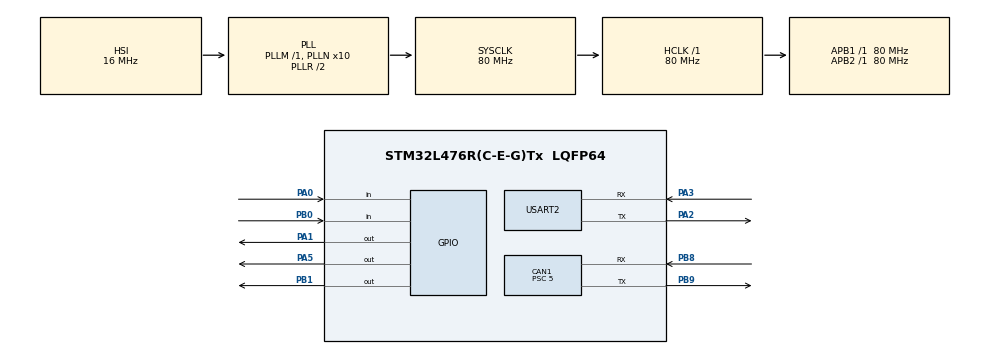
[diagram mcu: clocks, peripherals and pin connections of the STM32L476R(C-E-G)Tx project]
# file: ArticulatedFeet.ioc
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CAN1.ABOM=ENABLE
CAN1.BS1=CAN_BS1_13TQ
CAN1.BS2=CAN_BS2_2TQ
CAN1.CalculateBaudRate=1000000
CAN1.CalculateTimeBit=1000
CAN1.CalculateTimeQuantum=62.5
CAN1.NART=ENABLE
CAN1.Prescaler=5
Mcu.Family=STM32L4
Mcu.Name=STM32L476R(C-E-G)Tx
Mcu.Package=LQFP64
NVIC.CAN1_RX0_IRQn=true\:0\:0\:false\:false\:true\:true\:true\:true
NVIC.PriorityGroup=NVIC_PRIORITYGROUP_4
NVIC.TIM6_DAC_IRQn=true\:0\:0\:false\:false\:true\:true\:true\:true
PA0.Signal=GPIO_Input
PA1.Signal=GPIO_Output
PA2.Mode=Asynchronous
PA2.Signal=USART2_TX
PA3.Mode=Asynchronous
PA3.Signal=USART2_RX
PA5.Signal=GPIO_Output
PB0.Signal=GPIO_Input
PB1.Signal=GPIO_Output
PB8.Mode=CAN_Activate
PB8.Signal=CAN1_RX
PB9.Mode=CAN_Activate
PB9.Signal=CAN1_TX
ProjectManager.HeapSize=0x200
ProjectManager.StackSize=0x400
ProjectManager.TargetToolchain=STM32CubeIDE
RCC.ADCFreq_Value=64000000
RCC.AHBFreq_Value=80000000
RCC.APB1Freq_Value=80000000
RCC.APB1TimFreq_Value=80000000
RCC.APB2Freq_Value=80000000
RCC.APB2TimFreq_Value=80000000
RCC.CortexFreq_Value=80000000
RCC.HCLKFreq_Value=80000000
RCC.HSE_VALUE=8000000
RCC.HSI_VALUE=16000000
RCC.LSE_VALUE=32768
RCC.MSI_VALUE=4000000
RCC.PLLN=10
RCC.PLLSourceVirtual=RCC_PLLSOURCE_HSI
RCC.SYSCLKFreq_VALUE=80000000
RCC.SYSCLKSource=RCC_SYSCLKSOURCE_PLLCLK
RCC.USBFreq_Value=64000000
RCC.VCOOutputFreq_Value=160000000
TIM2.Prescaler=79
TIM6.Period=2999
TIM6.Prescaler=79
USART2.VirtualMode-Asynchronous=VM_ASYNC
VP_TIM2_VS_ClockSourceINT.Mode=Internal
VP_TIM6_VS_ClockSourceINT.Mode=Enable_Timer
board=custom

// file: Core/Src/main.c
/* USER CODE BEGIN Header */
/**
  ******************************************************************************
  * @file           : main.c
  * @brief          : Main program body
  ******************************************************************************
  * @attention
  *
  * Copyright (c) 2026 STMicroelectronics.
  * All rights reserved.
  *
  * This software is licensed under terms that can be found in the LICENSE file
  * in the root directory of this software component.
  * If no LICENSE file comes with this software, it is provided AS-IS.
  *
  ******************************************************************************
  */
/* USER CODE END Header */
#include "main.h"

/* USER CODE BEGIN Includes */

#include "hx711.h"
#include "cubemars.h"
#include <stdio.h>
#include <string.h>
#include <math.h>
/* USER CODE END Includes */

CAN_HandleTypeDef hcan1;

TIM_HandleTypeDef htim2;
TIM_HandleTypeDef htim6;

UART_HandleTypeDef huart2;

/* USER CODE BEGIN PV */
/* Hardcoded calibration: the existing HX711 driver is unchanged. */
HX711_t loadcell1 = {
    .dout_port=GPIOA, .dout_pin=GPIO_PIN_0,
    .sck_port=GPIOA,  .sck_pin=GPIO_PIN_1,
    .offset=13229, .scale=25848.474609f
};
HX711_t loadcell2 = {
    .dout_port=GPIOB, .dout_pin=GPIO_PIN_0,
    .sck_port=GPIOB,  .sck_pin=GPIO_PIN_1,
    .offset=585800, .scale=97598.601562f
};

/* CubeMonitor: live axial and horizontal force in lb (read-only). */
volatile float weight1_lb = 0.0f;
volatile float weight2_lb = 0.0f;
volatile uint32_t axial_timestamp_ms = 0U;
volatile uint32_t horizontal_timestamp_ms = 0U;
volatile uint8_t axial_valid = 0U;
volatile uint8_t horizontal_valid = 0U;
volatile uint32_t control_cycle_count = 0U;

/* Motor configuration. The public motor position/setpoint globals are in
 * cubemars.c and declared extern in cubemars.h for use by other files. */
/* Kp and Kd are writable globals defined in cubemars.c. */
#define MOTOR_COMMAND_PERIOD_MS   20U     /* 50 Hz CAN commands */
#define MOTOR_START_GRACE_MS      700U
#define MOTOR_FEEDBACK_MAX_AGE_MS 400U
#define MOTOR_POSITION_STEP_RAD   0.1f   /* each + or - keypress */
#define MOTOR_POSITION_MIN_RAD   (-12.5f) /* MIT protocol range */
#define MOTOR_POSITION_MAX_RAD    12.5f

/* CubeMonitor can READ this status; use motor_command to control it. */
volatile uint8_t motor_active = 0U;
/* Write 'e' or 'd' (ASCII 101 or 100) then firmware clears to 0. */
volatile uint8_t motor_command = 0U;
static uint8_t motor_target_ready = 0U;
static uint8_t motor_stop_pending = 0U;
static uint8_t motor_fault_lockout = 0U;
static uint32_t motor_start_ms = 0U;
static uint32_t motor_last_command_ms = 0U;
static uint32_t motor_rx_count_on_enable = 0U;

static char uart_buffer[180];
/* USER CODE END PV */

void SystemClock_Config(void);
static void MX_GPIO_Init(void);
static void MX_TIM2_Init(void);
static void MX_USART2_UART_Init(void);
static void MX_CAN1_Init(void);
static void MX_TIM6_Init(void);

/* USER CODE BEGIN 0 */
static void Serial_Print(const char *text)
{
    /* UART is only used in the foreground, never inside either ISR. */
    HAL_UART_Transmit(&huart2, (uint8_t *)text, (uint16_t)strlen(text), 100U);
}

/* Stop sending active control commands first; request motor disable in loop. */
static void Motor_RequestStop(uint8_t fault)
{
    motor_active = 0U;
    motor_target_ready = 0U;
    motor_stop_pending = 1U;
    if (fault) motor_fault_lockout = 1U;
}

/* Each character is a complete command: no Enter and no line parser. */
static void Process_MotorCommand(uint8_t ch)
{
    if (ch == 'e')
    {
    	if (motor_active)
    	{
    	    Serial_Print("Motor is already enabled.\r\n");
    	    return;
    	}

    	if (motor_stop_pending)
    	{
    	    Serial_Print("Motor is currently stopping.\r\n");
    	    return;
    	}

    	if (motor_fault_lockout)
    	{
    	    Serial_Print("Motor is locked out due to a fault.\r\n");
    	    return;
    	}

        motor_rx_count_on_enable = motor_rx_count;
        if (!CubeMars_Enable(&hcan1))
        {
            Serial_Print("MIT enable could not be queued.\r\n");
            return;
        }
        motor_active = 1U;
        motor_target_ready = 0U;
        motor_start_ms = HAL_GetTick();  /* feedback startup grace only */
        motor_last_command_ms = motor_start_ms;
        Serial_Print("MIT enable queued; waiting for fresh position.\r\n");
    }
    else if (ch == 'd')
    {
        Motor_RequestStop(0U);
        Serial_Print("Motor disable requested.\r\n");
    }
    else if (ch == '+' || ch == '-')
    {
        if (!motor_active || !motor_target_ready || motor_stop_pending)
        {
            Serial_Print("Motor not ready; press e and wait for feedback.\r\n");
            return;
        }
        if (!motor_position_valid ||
            (uint32_t)(HAL_GetTick() - motor_last_rx_ms) > MOTOR_FEEDBACK_MAX_AGE_MS)
        {
            Serial_Print("Position change rejected: feedback stale.\r\n");
            return;
        }

        float next = motor_target_rad +
            ((ch == '+') ? MOTOR_POSITION_STEP_RAD : -MOTOR_POSITION_STEP_RAD);

        /* Encoding supports only [-12.5, 12.5] rad. This is NOT a
         * relative-displacement or mechanical-travel limit. */
        if (!isfinite(next) || next < MOTOR_POSITION_MIN_RAD || next > MOTOR_POSITION_MAX_RAD)
        {
            Serial_Print("Position exceeds MIT encoding range (+/-12.5 rad).\r\n");
            return;
        }
        motor_target_rad = next;
        snprintf(uart_buffer, sizeof(uart_buffer),
                 "Target updated: %.3f rad\r\n", (double)motor_target_rad);
        Serial_Print(uart_buffer);
    }
}
/* USER CODE END 0 */

int main(void)
{

  /* MCU Configuration--------------------------------------------------------*/

  /* Reset of all peripherals, Initializes the Flash interface and the Systick. */
  HAL_Init();

  /* Configure the system clock */
  SystemClock_Config();

  /* Initialize all configured peripherals */
  MX_GPIO_Init();
  MX_TIM2_Init();
  MX_USART2_UART_Init();
  MX_CAN1_Init();
  MX_TIM6_Init();
  /* USER CODE BEGIN 2 */
if (HAL_TIM_Base_Start(&htim2) != HAL_OK) Error_Handler();

  /* Receive all standard CAN frames, decode only MIT feedback for motor 9. */
  CAN_FilterTypeDef can_filter = {0};
  can_filter.FilterBank = 0;
  can_filter.FilterMode = CAN_FILTERMODE_IDMASK;
  can_filter.FilterScale = CAN_FILTERSCALE_32BIT;
  can_filter.FilterFIFOAssignment = CAN_RX_FIFO0;
  can_filter.FilterActivation = CAN_FILTER_ENABLE;
  can_filter.SlaveStartFilterBank = 14;
  if (HAL_CAN_ConfigFilter(&hcan1, &can_filter) != HAL_OK) Error_Handler();
  if (HAL_CAN_Start(&hcan1) != HAL_OK) Error_Handler();
  if (HAL_CAN_ActivateNotification(&hcan1, CAN_IT_RX_FIFO0_MSG_PENDING) != HAL_OK)
      Error_Handler();
  if (HAL_TIM_Base_Start_IT(&htim6) != HAL_OK) Error_Handler();

  Serial_Print("\r\nDual HX711 + CubeMars ID 9 (MIT position control)\r\n");
  Serial_Print("Globals: motor_position_rad / motor_target_rad, in radians.\r\n");
  Serial_Print("Kp=1.0, Kd=0.2; CAN=1 Mbps, command=50 Hz, TIM6=3 ms.\r\n");
  Serial_Print("Commands: e=enable/hold, +=target +0.1 rad, -=target -0.1 rad, d=disable.\r\n");
  Serial_Print("No trial timeout and no relative displacement limit. MIT range +/-12.5 rad.\r\n");
  Serial_Print("Motor NOT enabled automatically. Have a PHYSICAL power cutoff.\r\n");
/* USER CODE END 2 */

  /* Infinite loop */
  /* USER CODE BEGIN WHILE */
uint32_t last_print_ms = HAL_GetTick();
  while (1)
  {
       uint32_t now = HAL_GetTick();

       /* Single-slot command mailbox for CubeMonitor: write ASCII 'e' or 'd'.
        * Clear before processing so the same command does not repeat.
        * If updated faster than the main loop executes, intermediate writes
        * can be overwritten; this is intended for manual commands only. */
       uint8_t pending_command = motor_command;
       if (pending_command != 0U)
       {
           motor_command = 0U;
           if (pending_command == 'e' || pending_command == 'd')
               Process_MotorCommand(pending_command);
       }

       if (motor_active)
      {
          /* Acquire initial target from a NEW response after enable. */
          if (!motor_target_ready && motor_rx_count != motor_rx_count_on_enable &&
              motor_position_valid && (uint32_t)(now - motor_last_rx_ms) <= MOTOR_FEEDBACK_MAX_AGE_MS)
          {
              motor_target_rad = motor_position_rad;
              motor_target_ready = 1U;
              Serial_Print("Position received; holding initial position.\r\n");
          }

           if ((hcan1.Instance->ESR & CAN_ESR_BOFF) != 0U ||
                   ((uint32_t)(now - motor_start_ms) >= MOTOR_START_GRACE_MS &&
                    (!motor_target_ready ||
                     (uint32_t)(now - motor_last_rx_ms) > MOTOR_FEEDBACK_MAX_AGE_MS)))
          {
              Motor_RequestStop(1U);
              Serial_Print("FAULT: CAN bus-off or missing feedback. Requesting disable.\r\n");
          }
           else if (motor_target_ready &&
                    (!isfinite(motor_target_rad) ||
                     motor_target_rad < MOTOR_POSITION_MIN_RAD ||
                     motor_target_rad > MOTOR_POSITION_MAX_RAD ||
                     !isfinite(motor_kp) || motor_kp < 0.0f || motor_kp > 500.0f ||
                     !isfinite(motor_kd) || motor_kd < 0.0f || motor_kd > 5.0f))
          {
               Motor_RequestStop(1U);
               Serial_Print("FAULT: invalid target or gains; requesting disable.\r\n");
          }
          else if ((uint32_t)(now - motor_last_command_ms) >= MOTOR_COMMAND_PERIOD_MS)
          {
               motor_last_command_ms = now;
               uint8_t ok = motor_target_ready ?
                   CubeMars_SendPosition(&hcan1, motor_target_rad, motor_kp, motor_kd) :
                   CubeMars_SendPassive(&hcan1);
              if (!ok)
              {
                  Motor_RequestStop(1U);
                  Serial_Print("FAULT: CAN transmission not queued. Requesting disable.\r\n");
              }
          }
      }

      /* Never block in a motor-disable retry: CAN may be disconnected. */
      if (motor_stop_pending && HAL_CAN_GetTxMailboxesFreeLevel(&hcan1) > 0U)
      {
          if (CubeMars_Disable(&hcan1))
          {
              motor_stop_pending = 0U;
              Serial_Print("Motor disable queued (delivery not guaranteed).\r\n");
          }
      }

      /* Show current force and measured/commanded position twice per second. */
      if ((uint32_t)(now - last_print_ms) >= 500U)
      {
          last_print_ms = now;
          const char *a = !axial_valid ? "NO DATA" :
              (now - axial_timestamp_ms > 250U ? "STALE" : "OK");
          const char *h = !horizontal_valid ? "NO DATA" :
              (now - horizontal_timestamp_ms > 250U ? "STALE" : "OK");
          const char *m = !motor_position_valid ? "NO DATA" :
              (now - motor_last_rx_ms > MOTOR_FEEDBACK_MAX_AGE_MS ? "STALE" : "OK");
          snprintf(uart_buffer, sizeof(uart_buffer),
                   "Axial %.3f lb [%s] | Horizontal %.3f lb [%s] | "
                   "Motor %.3f rad [%s] | Target %.3f rad\r\n",
                   (double)weight1_lb, a, (double)weight2_lb, h,
                   (double)motor_position_rad, m, (double)motor_target_rad);
          Serial_Print(uart_buffer);
      }

      /* 1 ms receive timeout; each keypress is handled immediately. */
      uint8_t ch;
      if (HAL_UART_Receive(&huart2, &ch, 1U, 1U) == HAL_OK)
    	  Process_MotorCommand(ch);
  /* USER CODE END WHILE */

  }
}

void SystemClock_Config(void)
{
  RCC_OscInitTypeDef RCC_OscInitStruct = {0};
  RCC_ClkInitTypeDef RCC_ClkInitStruct = {0};

  /** Configure the main internal regulator output voltage
  */
  if (HAL_PWREx_ControlVoltageScaling(PWR_REGULATOR_VOLTAGE_SCALE1) != HAL_OK)
  {
    Error_Handler();
  }

  /** Initializes the RCC Oscillators according to the specified parameters
  * in the RCC_OscInitTypeDef structure.
  */
  RCC_OscInitStruct.OscillatorType = RCC_OSCILLATORTYPE_HSI;
  RCC_OscInitStruct.HSIState = RCC_HSI_ON;
  RCC_OscInitStruct.HSICalibrationValue = RCC_HSICALIBRATION_DEFAULT;
  RCC_OscInitStruct.PLL.PLLState = RCC_PLL_ON;
  RCC_OscInitStruct.PLL.PLLSource = RCC_PLLSOURCE_HSI;
  RCC_OscInitStruct.PLL.PLLM = 1;
  RCC_OscInitStruct.PLL.PLLN = 10;
  RCC_OscInitStruct.PLL.PLLP = RCC_PLLP_DIV7;
  RCC_OscInitStruct.PLL.PLLQ = RCC_PLLQ_DIV2;
  RCC_OscInitStruct.PLL.PLLR = RCC_PLLR_DIV2;
  if (HAL_RCC_OscConfig(&RCC_OscInitStruct) != HAL_OK)
  {
    Error_Handler();
  }

  /** Initializes the CPU, AHB and APB buses clocks
  */
  RCC_ClkInitStruct.ClockType = RCC_CLOCKTYPE_HCLK|RCC_CLOCKTYPE_SYSCLK
                              |RCC_CLOCKTYPE_PCLK1|RCC_CLOCKTYPE_PCLK2;
  RCC_ClkInitStruct.SYSCLKSource = RCC_SYSCLKSOURCE_PLLCLK;
  RCC_ClkInitStruct.AHBCLKDivider = RCC_SYSCLK_DIV1;
  RCC_ClkInitStruct.APB1CLKDivider = RCC_HCLK_DIV1;
  RCC_ClkInitStruct.APB2CLKDivider = RCC_HCLK_DIV1;

  if (HAL_RCC_ClockConfig(&RCC_ClkInitStruct, FLASH_LATENCY_4) != HAL_OK)
  {
    Error_Handler();
  }
}

static void MX_CAN1_Init(void)
{

  hcan1.Instance = CAN1;
  hcan1.Init.Prescaler = 5;
  hcan1.Init.Mode = CAN_MODE_NORMAL;
  hcan1.Init.SyncJumpWidth = CAN_SJW_1TQ;
  hcan1.Init.TimeSeg1 = CAN_BS1_13TQ;
  hcan1.Init.TimeSeg2 = CAN_BS2_2TQ;
  hcan1.Init.TimeTriggeredMode = DISABLE;
  hcan1.Init.AutoBusOff = ENABLE;
  hcan1.Init.AutoWakeUp = DISABLE;
  hcan1.Init.AutoRetransmission = ENABLE;
  hcan1.Init.ReceiveFifoLocked = DISABLE;
  hcan1.Init.TransmitFifoPriority = DISABLE;
  if (HAL_CAN_Init(&hcan1) != HAL_OK)
  {
    Error_Handler();
  }

}

static void MX_TIM2_Init(void)
{

  TIM_ClockConfigTypeDef sClockSourceConfig = {0};
  TIM_MasterConfigTypeDef sMasterConfig = {0};

  htim2.Instance = TIM2;
  htim2.Init.Prescaler = 79;
  htim2.Init.CounterMode = TIM_COUNTERMODE_UP;
  htim2.Init.Period = 4294967295;
  htim2.Init.ClockDivision = TIM_CLOCKDIVISION_DIV1;
  htim2.Init.AutoReloadPreload = TIM_AUTORELOAD_PRELOAD_DISABLE;
  if (HAL_TIM_Base_Init(&htim2) != HAL_OK)
  {
    Error_Handler();
  }
  sClockSourceConfig.ClockSource = TIM_CLOCKSOURCE_INTERNAL;
  if (HAL_TIM_ConfigClockSource(&htim2, &sClockSourceConfig) != HAL_OK)
  {
    Error_Handler();
  }
  sMasterConfig.MasterOutputTrigger = TIM_TRGO_RESET;
  sMasterConfig.MasterSlaveMode = TIM_MASTERSLAVEMODE_DISABLE;
  if (HAL_TIMEx_MasterConfigSynchronization(&htim2, &sMasterConfig) != HAL_OK)
  {
    Error_Handler();
  }

}

static void MX_TIM6_Init(void)
{

  TIM_MasterConfigTypeDef sMasterConfig = {0};

  htim6.Instance = TIM6;
  htim6.Init.Prescaler = 79;
  htim6.Init.CounterMode = TIM_COUNTERMODE_UP;
  htim6.Init.Period = 2999;
  htim6.Init.AutoReloadPreload = TIM_AUTORELOAD_PRELOAD_DISABLE;
  if (HAL_TIM_Base_Init(&htim6) != HAL_OK)
  {
    Error_Handler();
  }
  sMasterConfig.MasterOutputTrigger = TIM_TRGO_RESET;
  sMasterConfig.MasterSlaveMode = TIM_MASTERSLAVEMODE_DISABLE;
  if (HAL_TIMEx_MasterConfigSynchronization(&htim6, &sMasterConfig) != HAL_OK)
  {
    Error_Handler();
  }

}

static void MX_USART2_UART_Init(void)
{

  huart2.Instance = USART2;
  huart2.Init.BaudRate = 115200;
  huart2.Init.WordLength = UART_WORDLENGTH_8B;
  huart2.Init.StopBits = UART_STOPBITS_1;
  huart2.Init.Parity = UART_PARITY_NONE;
  huart2.Init.Mode = UART_MODE_TX_RX;
  huart2.Init.HwFlowCtl = UART_HWCONTROL_NONE;
  huart2.Init.OverSampling = UART_OVERSAMPLING_16;
  huart2.Init.OneBitSampling = UART_ONE_BIT_SAMPLE_DISABLE;
  huart2.AdvancedInit.AdvFeatureInit = UART_ADVFEATURE_NO_INIT;
  if (HAL_UART_Init(&huart2) != HAL_OK)
  {
    Error_Handler();
  }

}

static void MX_GPIO_Init(void)
{
  GPIO_InitTypeDef GPIO_InitStruct = {0};

  /* GPIO Ports Clock Enable */
  __HAL_RCC_GPIOA_CLK_ENABLE();
  __HAL_RCC_GPIOB_CLK_ENABLE();

  /*Configure GPIO pin Output Level */
  HAL_GPIO_WritePin(GPIOA, GPIO_PIN_1|GPIO_PIN_5, GPIO_PIN_RESET);

  /*Configure GPIO pin Output Level */
  HAL_GPIO_WritePin(GPIOB, GPIO_PIN_1, GPIO_PIN_RESET);

  /*Configure GPIO pin : PA0 */
  GPIO_InitStruct.Pin = GPIO_PIN_0;
  GPIO_InitStruct.Mode = GPIO_MODE_INPUT;
  GPIO_InitStruct.Pull = GPIO_NOPULL;
  HAL_GPIO_Init(GPIOA, &GPIO_InitStruct);

  /*Configure GPIO pins : PA1 PA5 */
  GPIO_InitStruct.Pin = GPIO_PIN_1|GPIO_PIN_5;
  GPIO_InitStruct.Mode = GPIO_MODE_OUTPUT_PP;
  GPIO_InitStruct.Pull = GPIO_NOPULL;
  GPIO_InitStruct.Speed = GPIO_SPEED_FREQ_LOW;
  HAL_GPIO_Init(GPIOA, &GPIO_InitStruct);

  /*Configure GPIO pin : PB0 */
  GPIO_InitStruct.Pin = GPIO_PIN_0;
  GPIO_InitStruct.Mode = GPIO_MODE_INPUT;
  GPIO_InitStruct.Pull = GPIO_NOPULL;
  HAL_GPIO_Init(GPIOB, &GPIO_InitStruct);

  /*Configure GPIO pin : PB1 */
  GPIO_InitStruct.Pin = GPIO_PIN_1;
  GPIO_InitStruct.Mode = GPIO_MODE_OUTPUT_PP;
  GPIO_InitStruct.Pull = GPIO_NOPULL;
  GPIO_InitStruct.Speed = GPIO_SPEED_FREQ_LOW;
  HAL_GPIO_Init(GPIOB, &GPIO_InitStruct);

}

/* USER CODE BEGIN 4 */
/* TIM6: check each HX711 when ready. Existing HX711 driver unchanged. */
void HAL_TIM_PeriodElapsedCallback(TIM_HandleTypeDef *htim)
{
    if (htim->Instance != TIM6) return;
    HAL_GPIO_TogglePin(GPIOA, GPIO_PIN_5);  /* D13 scope reference, 6ms waveform */
    control_cycle_count++;
    float reading;
    if (HAL_GPIO_ReadPin(GPIOA, GPIO_PIN_0) == GPIO_PIN_RESET &&
        HX711_GetWeight(&loadcell1, &reading))
    {
        weight1_lb = reading;
        axial_timestamp_ms = HAL_GetTick();
        axial_valid = 1U;
    }
    if (HAL_GPIO_ReadPin(GPIOB, GPIO_PIN_0) == GPIO_PIN_RESET &&
        HX711_GetWeight(&loadcell2, &reading))
    {
        weight2_lb = reading;
        horizontal_timestamp_ms = HAL_GetTick();
        horizontal_valid = 1U;
    }
}

void HAL_CAN_RxFifo0MsgPendingCallback(CAN_HandleTypeDef *hcan)
{
    if (hcan->Instance != CAN1) return;
    CAN_RxHeaderTypeDef header;
    uint8_t data[8];
    while (HAL_CAN_GetRxFifoFillLevel(hcan, CAN_RX_FIFO0) > 0U)
    {
        if (HAL_CAN_GetRxMessage(hcan, CAN_RX_FIFO0, &header, data) != HAL_OK)
            break;
        CubeMars_ProcessRx(&header, data);
    }
}
/* USER CODE END 4 */

void Error_Handler(void)
{
  __disable_irq();
  while (1)
  {
  }
}
